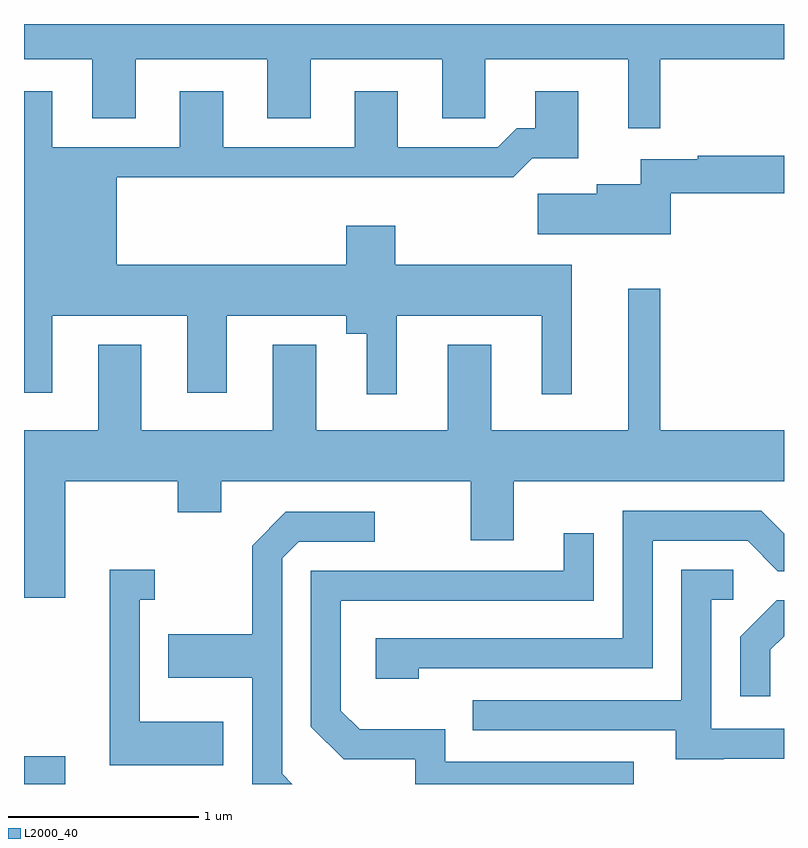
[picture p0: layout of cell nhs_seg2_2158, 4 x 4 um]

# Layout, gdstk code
import gdstk
lib = gdstk.Library(unit=1e-6, precision=1e-09)
def R(c, l, rs):  # rectangles x0, y0, x1, y1
    for r in rs: c.add(gdstk.rectangle(r[:2], r[2:], *l))
def P(c, l, *ps):  # polygons
    for p in ps: c.add(gdstk.Polygon(p, *l))
L2000_40 = (2000, 40)

nhs_seg2_2158 = lib.new_cell('nhs_seg2_2158')
R(nhs_seg2_2158, L2000_40, [(247.611,1077.802,247.829,1077.949)])
P(nhs_seg2_2158, L2000_40, [(250.959,1081.616),(251.611,1081.616),(251.611,1081.802),(247.611,1081.802),(247.611,1081.616),(247.971,1081.616),(247.971,1081.306),(248.199,1081.306),(248.199,1081.616),(248.891,1081.616),(248.891,1081.306),(249.119,1081.306),(249.119,1081.616),(249.811,1081.616),(249.811,1081.306),(250.039,1081.306),(250.039,1081.616),(250.791,1081.616),(250.791,1081.253),(250.959,1081.253)],
  [(249.574,1080.266),(250.336,1080.266),(250.336,1079.853),(250.494,1079.853),(250.494,1080.534),(249.564,1080.534),(249.564,1080.739),(249.306,1080.739),(249.306,1080.534),(248.099,1080.534),(248.099,1080.996),(250.187,1080.996),(250.287,1081.096),(250.529,1081.096),(250.529,1081.449),(250.301,1081.449),(250.301,1081.254),(250.204,1081.254),(250.104,1081.154),(249.579,1081.154),(249.579,1081.449),(249.351,1081.449),(249.351,1081.154),(248.659,1081.154),(248.659,1081.449),(248.431,1081.449),(248.431,1081.154),(247.759,1081.154),(247.759,1081.449),(247.611,1081.449),(247.611,1079.861),(247.759,1079.861),(247.759,1080.266),(248.471,1080.266),(248.471,1079.861),(248.679,1079.861),(248.679,1080.266),(249.306,1080.266),(249.306,1080.171),(249.416,1080.171),(249.416,1079.853),(249.574,1079.853)],
  [(251.014,1080.911),(251.611,1080.911),(251.611,1081.109),(251.156,1081.109),(251.156,1081.089),(250.856,1081.089),(250.856,1080.959),(250.626,1080.959),(250.626,1080.909),(250.316,1080.909),(250.316,1080.696),(251.014,1080.696)],
  [(247.829,1079.396),(248.421,1079.396),(248.421,1079.231),(248.649,1079.231),(248.649,1079.396),(249.961,1079.396),(249.961,1079.086),(250.189,1079.086),(250.189,1079.396),(251.611,1079.396),(251.611,1079.664),(250.959,1079.664),(250.959,1080.408),(250.791,1080.408),(250.791,1079.664),(250.069,1079.664),(250.069,1080.114),(249.841,1080.114),(249.841,1079.664),(249.149,1079.664),(249.149,1080.114),(248.921,1080.114),(248.921,1079.664),(248.229,1079.664),(248.229,1080.114),(248.001,1080.114),(248.001,1079.664),(247.611,1079.664),(247.611,1078.781),(247.829,1078.781)],
  [(249.689,1078.411),(250.919,1078.411),(250.919,1079.081),(251.419,1079.081),(251.579,1078.921),(251.611,1078.921),(251.611,1079.12),(251.492,1079.239),(250.761,1079.239),(250.761,1078.569),(249.461,1078.569),(249.461,1078.356),(249.689,1078.356)],
  [(248.969,1077.857),(248.969,1078.989),(249.057,1079.076),(249.458,1079.076),(249.458,1079.234),(248.989,1079.234),(248.811,1079.057),(248.811,1078.589),(248.371,1078.589),(248.371,1078.361),(248.811,1078.361),(248.811,1077.802),(249.024,1077.802)],
  [(250.819,1077.919),(249.829,1077.919),(249.829,1078.089),(249.377,1078.089),(249.279,1078.187),(249.279,1078.766),(250.609,1078.766),(250.609,1079.123),(250.451,1079.123),(250.451,1078.924),(249.121,1078.924),(249.121,1078.104),(249.294,1077.931),(249.671,1077.931),(249.671,1077.802),(250.819,1077.802)],
  [(248.659,1078.129),(248.219,1078.129),(248.219,1078.771),(248.298,1078.771),(248.298,1078.929),(248.061,1078.929),(248.061,1077.901),(248.659,1077.901)],
  [(251.295,1077.936),(251.611,1077.936),(251.611,1078.094),(251.229,1078.094),(251.229,1078.771),(251.343,1078.771),(251.343,1078.929),(251.071,1078.929),(251.071,1078.244),(249.973,1078.244),(249.973,1078.086),(251.041,1078.086),(251.041,1077.931),(251.295,1077.931)],
  [(251.539,1078.509),(251.611,1078.58),(251.611,1078.769),(251.574,1078.769),(251.381,1078.577),(251.381,1078.263),(251.539,1078.263)])

lib.write_gds('nhs_seg2_2158.gds')
